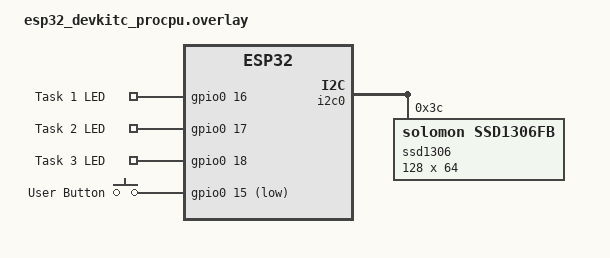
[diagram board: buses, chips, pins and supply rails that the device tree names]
/ {
    custom_gpio {
        compatible = "gpio-keys";

        task1_led: task1_led {
            gpios = <&gpio0 16 GPIO_ACTIVE_HIGH>;
            label = "Task 1 LED";
        };
        task2_led: task2_led {
            gpios = <&gpio0 17 GPIO_ACTIVE_HIGH>;
            label = "Task 2 LED";
        };
        task3_led: task3_led {
            gpios = <&gpio0 18 GPIO_ACTIVE_HIGH>;
            label = "Task 3 LED";
        };
        /* Button on GPIO15, active low, pull-up */
        button: button {
            gpios = <&gpio0 15 GPIO_ACTIVE_LOW>;
            label = "User Button";
        };
    };

    /* TODO (Part b): Configure a button input on PIN 15 */

    chosen {
        task1_led = &task1_led;
        task2_led = &task2_led;
        task3_led = &task3_led;
	// Uncomment after specifying *ssd1306* and *button*
        display = &ssd1306;
        sw0 = &button;
    };

    
};

/* TODO: Configure I2C for the SSD1306 display. 
* You can reuse your solution from the previous exercise. */
/* I2C0 on ESP32 DevKitC uses:
 *   SCL = GPIO22  (D22)
 *   SDA = GPIO21  (D21)
 */
&i2c0 {
    status = "okay";

    /* SSD1306 with I2C address 0x3C */
    ssd1306: ssd1306@3c {
        compatible = "solomon,ssd1306fb";
        reg = <0x3c>;

        width = <128>;
        height = <64>;

        segment-offset = <0>;
        page-offset = <0>;
        display-offset = <0>;
        multiplex-ratio = <63>;

        segment-remap;
        com-invdir;
        prechargep = <0x22>;
    };
};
